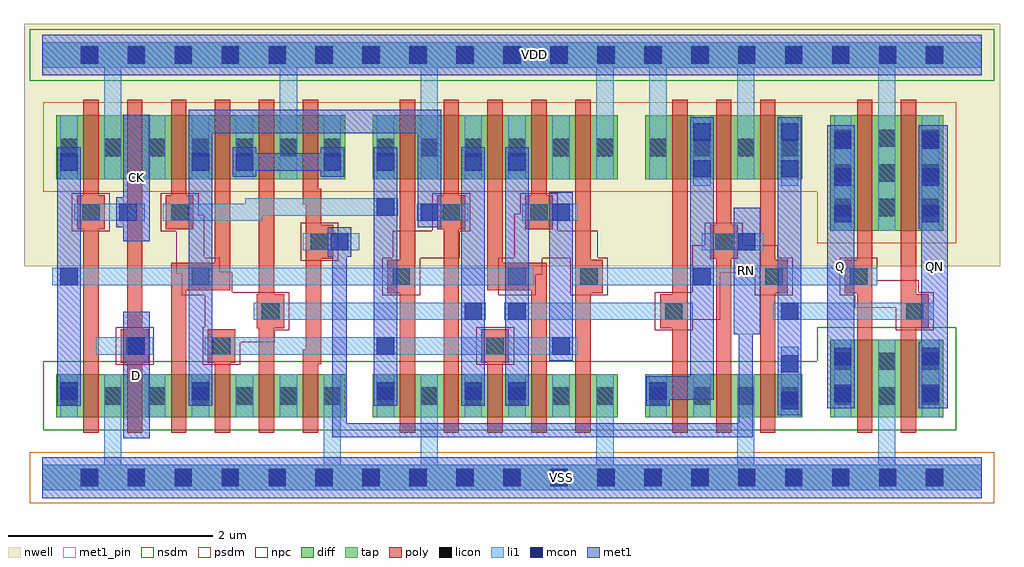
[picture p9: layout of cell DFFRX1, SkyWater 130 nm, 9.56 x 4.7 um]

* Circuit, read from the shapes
.subckt DFFRX1 CK D Q QN RN VDD VSS
XM1 VSS CK n1 VSS sky130_fd_pr__nfet_01v8 w=0.425 l=0.15
XM2 n2 D VSS VSS sky130_fd_pr__nfet_01v8 w=0.425 l=0.15
XM3 n3 n1 n2 VSS sky130_fd_pr__nfet_01v8 w=0.425 l=0.15
XM4 n4 n5 n3 VSS sky130_fd_pr__nfet_01v8 w=0.425 l=0.15
XM5 n6 n7 n4 VSS sky130_fd_pr__nfet_01v8 w=0.425 l=0.15
XM6 VSS RN n6 VSS sky130_fd_pr__nfet_01v8 w=0.425 l=0.15
XM7 VSS n1 n5 VSS sky130_fd_pr__nfet_01v8 w=0.425 l=0.15
XM8 n7 n3 VSS VSS sky130_fd_pr__nfet_01v8 w=0.425 l=0.15
XM9 n8 n5 n7 VSS sky130_fd_pr__nfet_01v8 w=0.425 l=0.15
XM10 n9 n1 n8 VSS sky130_fd_pr__nfet_01v8 w=0.425 l=0.15
XM11 VSS n10 n9 VSS sky130_fd_pr__nfet_01v8 w=0.425 l=0.15
XM12 n11 n8 n10 VSS sky130_fd_pr__nfet_01v8 w=0.425 l=0.15
XM13 VSS RN n11 VSS sky130_fd_pr__nfet_01v8 w=0.425 l=0.15
XM14 n12 n10 VSS VSS sky130_fd_pr__nfet_01v8 w=0.425 l=0.15
XM15 VSS n10 Q VSS sky130_fd_pr__nfet_01v8 w=0.76 l=0.15
XM16 QN n12 VSS VSS sky130_fd_pr__nfet_01v8 w=0.76 l=0.15
XM17 VDD CK n1 VDD sky130_fd_pr__pfet_01v8 w=0.625 l=0.15
XM18 n13 D VDD VDD sky130_fd_pr__pfet_01v8 w=0.625 l=0.15
XM19 n3 n5 n13 VDD sky130_fd_pr__pfet_01v8 w=0.625 l=0.15
XM20 n14 n1 n3 VDD sky130_fd_pr__pfet_01v8 w=0.625 l=0.15
XM21 VDD n7 n14 VDD sky130_fd_pr__pfet_01v8 w=0.625 l=0.15
XM22 n14 RN VDD VDD sky130_fd_pr__pfet_01v8 w=0.625 l=0.15
XM23 VDD n1 n5 VDD sky130_fd_pr__pfet_01v8 w=0.625 l=0.15
XM24 n7 n3 VDD VDD sky130_fd_pr__pfet_01v8 w=0.625 l=0.15
XM25 n8 n1 n7 VDD sky130_fd_pr__pfet_01v8 w=0.625 l=0.15
XM26 n15 n5 n8 VDD sky130_fd_pr__pfet_01v8 w=0.625 l=0.15
XM27 VDD n10 n15 VDD sky130_fd_pr__pfet_01v8 w=0.625 l=0.15
XM28 n10 n8 VDD VDD sky130_fd_pr__pfet_01v8 w=0.625 l=0.15
XM29 VDD RN n10 VDD sky130_fd_pr__pfet_01v8 w=0.625 l=0.15
XM30 n12 n10 VDD VDD sky130_fd_pr__pfet_01v8 w=0.625 l=0.15
XM31 VDD n10 Q VDD sky130_fd_pr__pfet_01v8 w=1.13 l=0.15
XM32 QN n12 VDD VDD sky130_fd_pr__pfet_01v8 w=1.13 l=0.15
.ends

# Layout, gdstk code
import gdstk
lib = gdstk.Library(unit=1e-6, precision=1e-09)
def R(c, l, rs):  # rectangles x0, y0, x1, y1
    for r in rs: c.add(gdstk.rectangle(r[:2], r[2:], *l))
def A(c, l, x, y, w, h, nx, ny, dx, dy):  # array of equal rectangles
    R(c, l, [(x+i*dx, y+j*dy, x+i*dx+w, y+j*dy+h) for i in range(nx) for j in range(ny)])
nwell = (64, 20)
diff = (65, 20)
tap = (65, 44)
poly = (66, 20)
licon = (66, 44)
li1 = (67, 20)
mcon = (67, 44)
met1_pin = (68, 16)
met1 = (68, 20)
nsdm = (93, 44)
psdm = (94, 20)
npc = (95, 20)

dffrx1 = lib.new_cell('DFFRX1')
R(dffrx1, nwell, [(-0.18,2.07,9.38,4.445)])
R(dffrx1, diff, [(0.135,0.59,2.965,1.015), (3.235,0.59,5.635,1.015), (5.905,0.59,7.445,1.015), (7.715,0.59,8.825,1.35), (7.715,2.42,8.825,3.55), (0.135,2.925,2.965,3.55), (3.235,2.925,5.635,3.55), (5.905,2.925,7.445,3.55)])
R(dffrx1, tap, [(0,-0.125,9.2,0.125), (0,4.015,9.2,4.265)])
R(dffrx1, poly, [(0.4,0.44,0.55,2.435), (0.83,0.44,0.98,1.125), (1.26,0.44,1.41,1.835), (1.69,0.44,1.84,1.125), (2.12,0.44,2.27,1.465), (2.55,0.44,2.7,1.11), (3.5,0.44,3.65,1.805), (3.93,0.44,4.08,2.435), (4.36,0.44,4.51,1.125), (4.79,0.44,4.94,1.835), (5.22,0.44,5.37,1.805), (6.17,0.44,6.32,1.465), (6.6,0.44,6.75,2.145), (7.03,0.44,7.18,1.805), (7.98,0.44,8.13,1.805), (8.41,0.44,8.56,1.465), (2.55,1.11,2.73,1.26), (0.77,1.125,1.04,1.455), (1.62,1.125,1.89,1.455), (4.3,1.125,4.57,1.455), (2.58,1.26,2.73,2.145), (0.83,1.455,0.98,3.7), (2.1,1.465,2.37,1.795), (6.05,1.465,6.32,1.795), (8.41,1.465,8.68,1.795), (2.12,1.795,2.27,3.7), (6.17,1.795,6.32,3.7), (8.41,1.795,8.56,3.7), (3.38,1.805,3.65,2.135), (5.22,1.805,5.49,2.135), (7.03,1.805,7.3,2.135), (7.86,1.805,8.13,2.135), (1.26,1.835,1.84,2.105), (4.36,1.835,4.94,2.105), (1.69,2.105,1.84,3.7), (4.36,2.105,4.51,3.7), (3.5,2.135,3.65,3.7), (5.22,2.135,5.37,3.7), (7.03,2.135,7.18,3.7), (7.98,2.135,8.13,3.7), (2.58,2.145,2.85,2.475), (6.54,2.145,6.81,2.475), (0.34,2.435,0.61,2.765), (1.21,2.435,1.48,2.765), (3.87,2.435,4.14,2.765), (4.73,2.435,5,2.765), (2.58,2.475,2.73,2.68), (6.6,2.475,6.75,3.7), (2.55,2.68,2.73,2.83), (0.4,2.765,0.55,3.7), (1.26,2.765,1.41,3.7), (3.93,2.765,4.08,3.7), (4.79,2.765,4.94,3.7), (2.55,2.83,2.7,3.7)])
A(dffrx1, licon, 0.375, -0.085, 0.17, 0.17, 19, 2, 0.46, 4.14)
A(dffrx1, licon, 0.175, 0.715, 0.17, 0.17, 7, 2, 0.43, 2.435)
A(dffrx1, licon, 3.275, 0.715, 0.17, 0.17, 6, 2, 0.43, 2.435)
A(dffrx1, licon, 5.945, 0.715, 0.17, 0.17, 4, 2, 0.43, 2.435)
A(dffrx1, licon, 7.755, 0.715, 0.17, 0.17, 3, 2, 0.43, 0.34)
A(dffrx1, licon, 7.755, 2.56, 0.17, 0.17, 3, 3, 0.43, 0.34)
R(dffrx1, licon, [(0.82,1.205,0.99,1.375), (1.67,1.205,1.84,1.375), (4.35,1.205,4.52,1.375), (2.15,1.545,2.32,1.715), (6.1,1.545,6.27,1.715), (8.46,1.545,8.63,1.715), (1.465,1.885,1.635,2.055), (3.43,1.885,3.6,2.055), (4.565,1.885,4.735,2.055), (5.27,1.885,5.44,2.055), (7.08,1.885,7.25,2.055), (7.91,1.885,8.08,2.055), (2.63,2.225,2.8,2.395), (6.59,2.225,6.76,2.395), (0.39,2.515,0.56,2.685), (1.26,2.515,1.43,2.685), (3.92,2.515,4.09,2.685), (4.78,2.515,4.95,2.685)])
A(dffrx1, li1, 1.035, 0.59, 0.17, 0.425, 4, 1, 0.43, 0)
A(dffrx1, li1, 4.135, 0.59, 0.17, 0.425, 3, 1, 0.43, 0)
A(dffrx1, li1, 1.035, 2.925, 0.17, 0.625, 3, 1, 0.43, 0)
A(dffrx1, li1, 4.135, 2.925, 0.17, 0.625, 3, 1, 0.43, 0)
R(dffrx1, li1, [(0,-0.125,9.2,0.125), (0.605,0.125,0.775,1.015), (2.755,0.125,2.925,1.015), (3.705,0.125,3.875,1.015), (5.425,0.125,5.595,1.015), (6.805,0.125,6.975,1.015), (8.185,0.125,8.355,1.35), (0.175,0.59,0.345,1.015), (3.275,0.59,3.445,1.015), (5.945,0.59,6.115,1.015), (6.375,0.59,6.545,1.015), (7.235,0.59,7.405,1.28), (7.755,0.59,7.925,1.35), (8.615,0.59,8.785,1.35), (0.525,1.205,1.085,1.375), (1.59,1.205,5.245,1.375), (2.07,1.545,4.345,1.715), (4.525,1.545,6.37,1.715), (7.155,1.545,8.73,1.715), (0.095,1.885,4.815,2.055), (5.19,1.885,8.18,2.055), (2.55,2.225,3.105,2.395), (6.46,2.225,7.065,2.395), (7.755,2.42,7.925,3.55), (8.185,2.42,8.355,4.015), (8.615,2.42,8.785,3.55), (0.31,2.515,1.005,2.685), (1.18,2.515,2.155,2.565), (3.665,2.515,4.17,2.685), (4.7,2.515,5.245,2.685), (1.18,2.565,3.485,2.685), (1.985,2.685,3.485,2.735), (6.375,2.86,6.545,3.55), (7.235,2.86,7.405,3.55), (0.175,2.925,0.345,3.55), (0.605,2.925,0.775,4.015), (2.325,2.925,2.495,4.015), (2.755,2.925,2.925,3.55), (3.275,2.925,3.445,3.55), (3.705,2.925,3.875,4.015), (5.425,2.925,5.595,4.015), (5.945,2.925,6.115,4.015), (6.805,2.925,6.975,4.015), (0,4.015,9.2,4.265)])
A(dffrx1, mcon, 0.375, -0.085, 0.17, 0.17, 19, 2, 0.46, 4.14)
A(dffrx1, mcon, 0.175, 0.765, 0.17, 0.17, 1, 3, 0, 1.12)
A(dffrx1, mcon, 7.755, 2.5, 0.17, 0.17, 1, 3, 0, 0.36)
A(dffrx1, mcon, 8.615, 2.5, 0.17, 0.17, 1, 3, 0, 0.36)
R(dffrx1, mcon, [(7.235,0.67,7.405,0.84), (7.755,0.74,7.925,0.91), (8.615,0.74,8.785,0.91), (1.465,0.765,1.635,0.935), (3.275,0.765,3.445,0.935), (4.135,0.765,4.305,0.935), (4.565,0.765,4.735,0.935), (5.945,0.765,6.115,0.935), (7.235,1.03,7.405,1.2), (7.755,1.1,7.925,1.27), (8.615,1.1,8.785,1.27), (0.835,1.205,1.005,1.375), (3.275,1.205,3.445,1.375), (4.995,1.205,5.165,1.375), (4.135,1.545,4.305,1.715), (4.565,1.545,4.735,1.715), (7.235,1.545,7.405,1.715), (6.375,1.885,6.545,2.055), (2.825,2.225,2.995,2.395), (6.815,2.225,6.985,2.395), (0.755,2.515,0.925,2.685), (3.705,2.515,3.875,2.685), (4.995,2.515,5.165,2.685), (3.275,2.565,3.445,2.735), (6.375,2.94,6.545,3.11), (7.235,2.94,7.405,3.11), (1.465,3.005,1.635,3.175), (1.895,3.005,2.065,3.175), (2.755,3.005,2.925,3.175), (3.275,3.005,3.445,3.175), (4.135,3.005,4.305,3.175), (4.565,3.005,4.735,3.175), (6.375,3.3,6.545,3.47), (7.235,3.3,7.405,3.47)])
R(dffrx1, met1_pin, [(0.79,0.385,1.05,1.625), (7.69,0.68,7.95,3.45), (8.61,0.68,8.87,3.45), (6.77,1.405,7.03,2.645), (0.79,2.315,1.05,3.555)])
R(dffrx1, met1, [(0,-0.2,9.2,0.2), (0.79,0.385,1.05,1.625), (2.84,0.395,6.96,0.535), (2.84,0.535,2.98,2.165), (6.82,0.535,6.96,1.405), (7.205,0.61,7.435,3.53), (7.69,0.68,7.955,1.33), (8.585,0.68,8.87,1.33), (0.145,0.705,0.375,3.235), (1.435,0.705,1.665,3.375), (3.245,0.705,3.475,3.235), (4.105,0.705,4.335,3.235), (4.535,0.705,4.765,3.235), (5.915,0.705,6.145,0.765), (5.915,0.765,6.575,0.995), (6.345,0.995,6.575,3.53), (4.965,1.145,5.195,2.795), (7.69,1.33,7.95,2.44), (8.61,1.33,8.87,2.44), (6.77,1.405,7.03,2.645), (2.795,2.165,3.025,2.455), (0.79,2.315,1.05,2.455), (7.69,2.44,7.955,3.45), (8.585,2.44,8.87,3.45), (0.725,2.455,1.05,2.745), (3.675,2.455,3.905,3.375), (0.79,2.745,1.05,3.555), (1.865,2.945,2.095,3.005), (2.725,2.945,2.955,3.005), (1.865,3.005,2.955,3.175), (1.865,3.175,2.095,3.235), (2.725,3.175,2.955,3.235), (1.435,3.375,3.905,3.605), (0,3.94,9.2,4.34)])
R(dffrx1, nsdm, [(0.01,0.465,8.95,1.14), (7.59,1.14,8.95,1.475), (-0.125,3.89,9.325,4.39)])
R(dffrx1, psdm, [(-0.125,-0.25,9.325,0.25), (7.59,2.295,8.95,2.8), (0.01,2.8,8.95,3.675)])
R(dffrx1, npc, [(0.72,1.105,1.09,1.475), (1.57,1.105,1.94,1.325), (4.25,1.105,4.62,1.475), (1.57,1.325,2.275,1.445), (1.57,1.445,2.42,1.475), (6,1.445,6.37,1.545), (8.36,1.445,8.73,1.665), (1.59,1.475,2.42,1.785), (6,1.545,6.64,1.815), (7.955,1.665,8.73,1.785), (1.365,1.785,2.42,1.815), (3.33,1.785,3.7,2.15), (4.465,1.785,4.835,1.985), (5.17,1.785,5.54,2.15), (6.98,1.785,7.35,2.005), (7.81,1.785,8.73,1.815), (1.365,1.815,1.86,1.995), (6.365,1.815,6.64,2.005), (7.81,1.815,8.585,1.935), (7.81,1.935,8.18,2.155), (4.465,1.985,4.895,2.15), (1.31,1.995,1.86,2.015), (6.365,2.005,7.35,2.155), (1.31,2.015,1.735,2.155), (2.53,2.125,2.9,2.495), (3.33,2.15,4.09,2.155), (4.465,2.15,5.54,2.155), (1.31,2.155,1.585,2.415), (3.43,2.155,4.09,2.415), (4.62,2.155,5.44,2.42), (6.365,2.155,7.205,2.275), (6.49,2.275,6.86,2.495), (0.29,2.415,0.66,2.785), (1.16,2.415,1.585,2.575), (3.43,2.415,4.19,2.42), (3.82,2.42,4.19,2.785), (4.62,2.42,5.05,2.585), (1.16,2.575,1.53,2.785), (4.68,2.585,5.05,2.785)])
dffrx1.add(gdstk.Label('VDD', (4.825,4.145), layer=68, texttype=5))
dffrx1.add(gdstk.Label('VSS', (5.085,0.005), layer=68, texttype=5))
dffrx1.add(gdstk.Label('CK', (0.92,2.935), layer=68, texttype=5))
dffrx1.add(gdstk.Label('QN', (8.74,2.065), layer=68, texttype=5))
dffrx1.add(gdstk.Label('Q', (7.82,2.065), layer=68, texttype=5))
dffrx1.add(gdstk.Label('D', (0.92,1.005), layer=68, texttype=5))
dffrx1.add(gdstk.Label('RN', (6.9,2.025), layer=68, texttype=5))

lib.write_gds('DFFRX1.gds')
